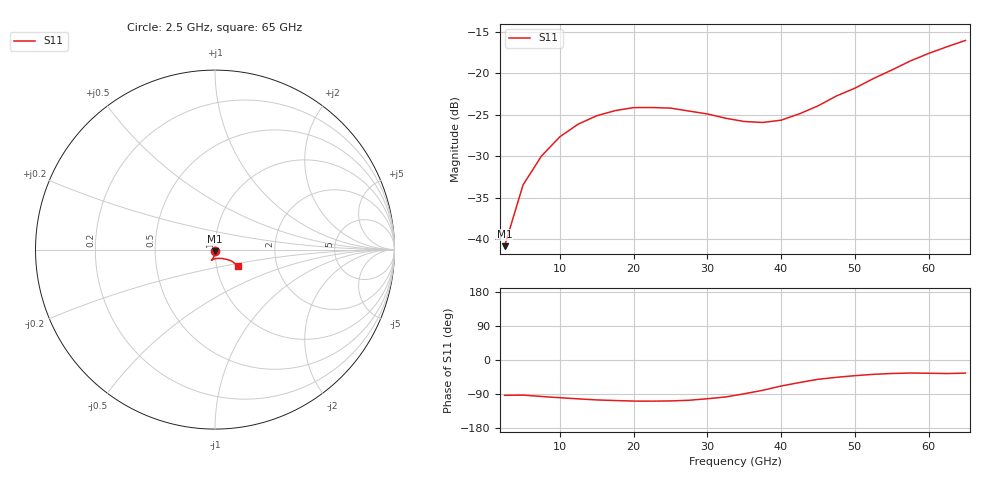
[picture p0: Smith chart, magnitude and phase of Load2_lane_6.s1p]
! File created by SignalIntegrity v1.5.1: Signal and Power Integrity Tools
! https://github.com/Nubis-Communications/SignalIntegrity
# MHz S MA R 50.0
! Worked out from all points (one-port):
!   26 points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, 2.5 GHz to 65 GHz, reference 50 ohm
!   lowest |S11| = -40.8 dB at 2.5 GHz (marker M1), VSWR 1.02, Z = 49.9 - j0.909 ohm
!   |S11| at or under -10 dB: start of sweep to end of sweep
2500  0.009111 -93.2
5000  0.02127 -92.6
7500  0.03174 -96.3
10000  0.04147 -99.5
12500  0.04943 -102.5
15000  0.05546 -105.4
17500  0.05954 -107.0
20000  0.06208 -108.4
22500  0.06213 -108.6
25000  0.06165 -108.0
27500  0.05917 -106.3
30000  0.05685 -102.3
32500  0.05355 -97.5
35000  0.05121 -89.1
37500  0.05052 -80.0
40000  0.05214 -68.7
42500  0.05699 -59.5
45000  0.06353 -51.0
47500  0.0729 -45.7
50000  0.08119 -41.4
52500  0.0927 -37.9
55000  0.1044 -35.6
57500  0.1182 -34.4
60000  0.1313 -35.0
62500  0.1441 -35.7
65000  0.1573 -34.6
